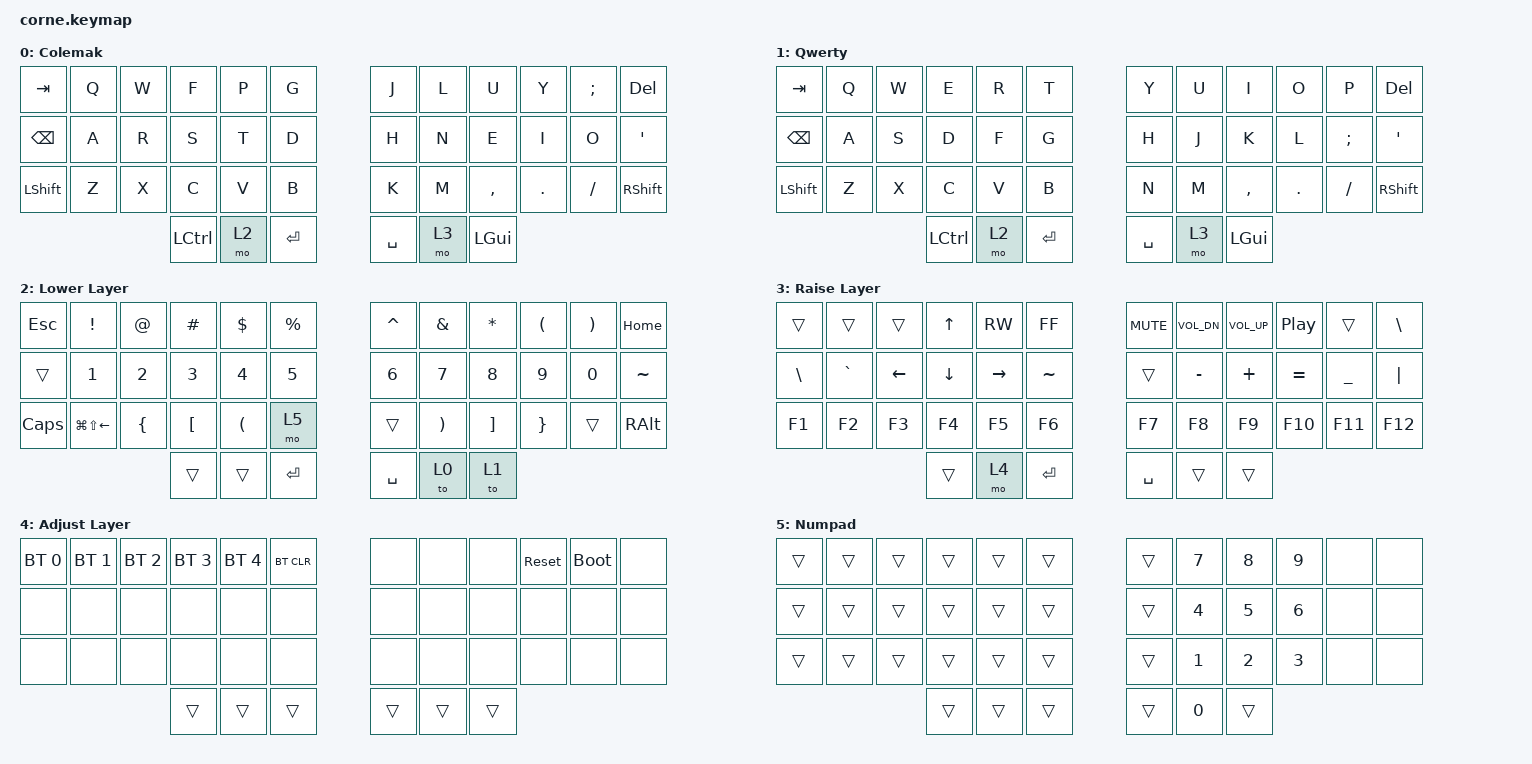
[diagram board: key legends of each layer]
/*
 * Copyright (c) 2020 The ZMK Contributors
 *
 * SPDX-License-Identifier: MIT
 */

#include <behaviors.dtsi>
#include <dt-bindings/zmk/keys.h>
#include <dt-bindings/zmk/bt.h>

/ {
        keymap {
                compatible = "zmk,keymap";

                default_layer {
                        display-name = "Colemak";
// -----------------------------------------------------------------------------------------
// |  TAB |  Q  |  W  |  F  |  P  |  G  |   |  J  |  L   |  U  |  Y  |  ;  |  DEL  |
// | BKSP |  A  |  R  |  S  |  T  |  D  |   |  H  |  N   |  E  |  I  |  O  |   '   |
// | SHFT |  Z  |  X  |  C  |  V  |  B  |   |  K  |  M   |  ,  |  .  |  /  | SHFT  |
//                    | CTRL | LWR | ENT |   | SPC | RSE  | WIN |
                        bindings = <
   &kp TAB   &kp Q &kp W &kp F &kp P &kp G   &kp J &kp L  &kp U     &kp Y   &kp SEMI &kp DEL
   &kp BSPC  &kp A &kp R &kp S &kp T &kp D   &kp H &kp N  &kp E     &kp I   &kp O    &kp SQT
   &kp LSHFT &kp Z &kp X &kp C &kp V &kp B   &kp K &kp M  &kp COMMA &kp DOT &kp FSLH &kp RSHFT
                  &kp LCTRL &mo 2 &kp RET      &kp SPACE &mo 3 &kp LGUI
                        >;
                };

                qwerty_layer {
                        display-name = "Qwerty";
// -----------------------------------------------------------------------------------------
// |  TAB |  Q  |  W  |  E  |  R  |  T  |   |  Y  |  U   |  I  |  O  |  P  |  DEL  |
// | BKSP |  A  |  S  |  D  |  F  |  G  |   |  H  |  J   |  K  |  L  |  ;  |   '   |
// | SHFT |  Z  |  X  |  C  |  V  |  B  |   |  N  |  M   |  ,  |  .  |  /  | SHFT  |
//                    | CTRL | LWR | ENT |   | SPC | RSE  | WIN |
                        bindings = <
   &kp TAB   &kp Q &kp W &kp E &kp R &kp T   &kp Y &kp U  &kp I     &kp O   &kp P    &kp DEL
   &kp BSPC  &kp A &kp S &kp D &kp F &kp G   &kp H &kp J  &kp K     &kp L   &kp SEMI &kp SQT
   &kp LSHFT &kp Z &kp X &kp C &kp V &kp B   &kp N &kp M  &kp COMMA &kp DOT &kp FSLH &kp RSHFT
                  &kp LCTRL &mo 2 &kp RET      &kp SPACE &mo 3 &kp LGUI
                        >;
                };

                lower_layer {
                        display-name = "Lower Layer";
// -----------------------------------------------------------------------------------------
// |  ESC |        !        |  @  |  #  |  $  |  %   |   |  ^  |  &  |  *  |  (  |  )  | HOME |
// |      |        1        |  2  |  3  |  4  |  5   |   |  6  |  7  |  8  |  9  |  0  |   ~  |
// | CAPS | WIN(SHFT(LEFT)) |  {  |  [  |  (  | NMPD |   |     |  )  |  ]  |  }  |     |  ALT |
//                               |     |     | ENT |      | SPC |  CLMK  | QWERTY |
                        bindings = <
   &kp ESC   &kp EXCL          &kp AT    &kp HASH  &kp DLLR  &kp PRCNT     &kp CARET  &kp AMPS  &kp ASTRK &kp LPAR  &kp RPAR  &kp HOME
   &trans    &kp N1            &kp N2    &kp N3    &kp N4    &kp N5        &kp N6     &kp N7    &kp N8    &kp N9    &kp N0    &kp TILDE
   &kp CLCK  &kp LG(LS(LEFT))  &kp LBRC  &kp LBKT  &kp LPAR  &mo 5         &trans     &kp RPAR  &kp RBKT  &kp RBRC  &trans    &kp RALT
                                         &trans  &trans  &kp RET             &kp SPACE  &to 0   &to 1
                        >;
                };

                raise_layer {
                        display-name = "Raise Layer";
// ----------------------------------------------------------------------------
// |     |     |     |  UP |  RW |  FF |   | MUTE | VOLDWN |  VOLUP |  PP |     |  \  |
// |  \  |  `  | LFT | DWN | RGT |  ~  |   |      |    -   |   +    |  =  |  _  | '|' |
// |  F1 | F2  | F3  | F4  | F5  |  F6 |   |  F7  |   F8   |   F9   | F10 | F11 | F12 |
//                    |    | ADJ | ENT |   | SPC |     |     |
                        bindings = <
   &trans   &trans    &trans    &kp UP    &kp C_RW  &kp C_FF      &kp C_MUTE &kp C_VOL_DN &kp C_VOL_UP &kp C_PP  &trans    &kp BSLH
   &kp BSLH &kp GRAVE &kp LEFT  &kp DOWN  &kp RIGHT &kp TILDE     &trans     &kp MINUS    &kp PLUS     &kp EQUAL &kp UNDER &kp PIPE
   &kp F1   &kp F2    &kp F3    &kp F4    &kp F5    &kp F6        &kp F7     &kp F8       &kp F9       &kp F10   &kp F11   &kp F12
                                 &trans  &mo 4   &kp RET            &kp SPACE   &trans    &trans
                        >;
                };

                adjust_layer {
                    display-name = "Adjust Layer";
// -----------------------------------------------------------------------------------------
// | BT1 | BT2 | BT3 | BT4 |  BT5 | BT CLR |   |    |     |     | RESET | BTLDR |     |
// |     |     |     |     |      |        |   |    |     |     |       |       |     |
// |     |     |     |     |      |        |   |    |     |     |       |       |     |
//                      |     |    |     |       |     |     |     |
                        bindings = <
   &bt BT_SEL 0  &bt BT_SEL 1  &bt BT_SEL 2  &bt BT_SEL 3  &bt BT_SEL 4  &bt BT_CLR   &none &none &none &sys_reset &bootloader &none
   &none         &none         &none         &none         &none         &none        &none &none &none &none      &none       &none
   &none         &none         &none         &none         &none         &none        &none &none &none &none      &none       &none
                                                &trans      &trans     &trans           &trans    &trans    &trans
                        >;
                };

                numpad_layer {
                    display-name = "Numpad";
// ----------------------------------------------------------------------------
// |     |     |     |     |     |     |   |      |   7  |   8  |  9  |     |     |
// |     |     |     |     |     |     |   |      |   4  |   5  |  6  |     |     |
// |     |     |     |     |     |     |   |      |   1  |   2  |  3  |     |     |
//                        |     |     |     |       |    |  0  |     |
                        bindings = <
   &trans   &trans   &trans   &trans   &trans   &trans      &trans   &kp N7   &kp N8   &kp N9   &none   &none
   &trans   &trans   &trans   &trans   &trans   &trans      &trans   &kp N4   &kp N5   &kp N6   &none   &none
   &trans   &trans   &trans   &trans   &trans   &trans      &trans   &kp N1   &kp N2   &kp N3   &none   &none
                          &trans   &trans    &trans           &trans   &kp N0  &trans
                        >;
                };
        };
};
